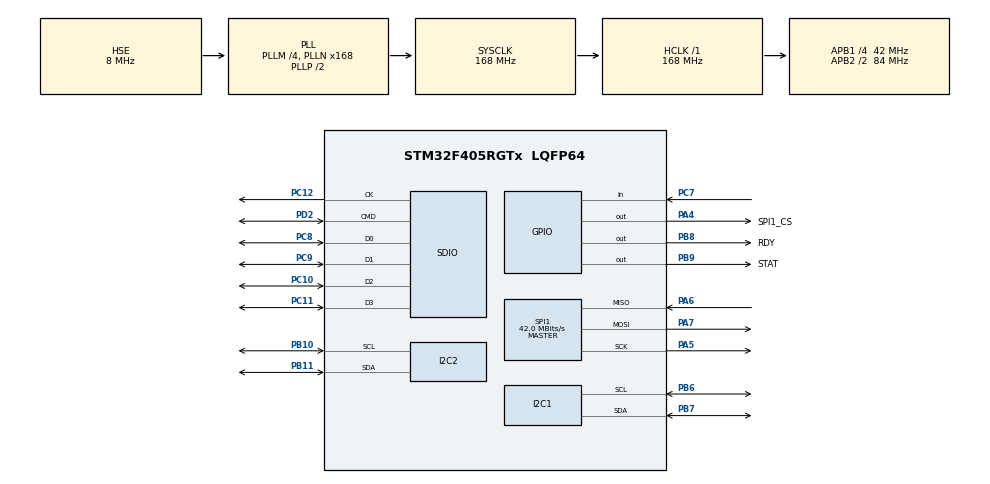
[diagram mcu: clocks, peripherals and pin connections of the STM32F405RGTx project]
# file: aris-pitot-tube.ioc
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Dma.I2C1_RX.6.Direction=DMA_PERIPH_TO_MEMORY
Dma.I2C1_RX.6.FIFOMode=DMA_FIFOMODE_DISABLE
Dma.I2C1_RX.6.Instance=DMA1_Stream0
Dma.I2C1_RX.6.MemDataAlignment=DMA_MDATAALIGN_BYTE
Dma.I2C1_RX.6.MemInc=DMA_MINC_ENABLE
Dma.I2C1_RX.6.Mode=DMA_NORMAL
Dma.I2C1_RX.6.PeriphDataAlignment=DMA_PDATAALIGN_BYTE
Dma.I2C1_RX.6.PeriphInc=DMA_PINC_DISABLE
Dma.I2C1_RX.6.Priority=DMA_PRIORITY_LOW
Dma.I2C1_TX.7.Direction=DMA_MEMORY_TO_PERIPH
Dma.I2C1_TX.7.FIFOMode=DMA_FIFOMODE_DISABLE
Dma.I2C1_TX.7.Instance=DMA1_Stream6
Dma.I2C1_TX.7.MemDataAlignment=DMA_MDATAALIGN_BYTE
Dma.I2C1_TX.7.MemInc=DMA_MINC_ENABLE
Dma.I2C1_TX.7.Mode=DMA_NORMAL
Dma.I2C1_TX.7.PeriphDataAlignment=DMA_PDATAALIGN_BYTE
Dma.I2C1_TX.7.PeriphInc=DMA_PINC_DISABLE
Dma.I2C1_TX.7.Priority=DMA_PRIORITY_LOW
Dma.I2C2_RX.4.Direction=DMA_PERIPH_TO_MEMORY
Dma.I2C2_RX.4.FIFOMode=DMA_FIFOMODE_DISABLE
Dma.I2C2_RX.4.Instance=DMA1_Stream2
Dma.I2C2_RX.4.MemDataAlignment=DMA_MDATAALIGN_BYTE
Dma.I2C2_RX.4.MemInc=DMA_MINC_ENABLE
Dma.I2C2_RX.4.Mode=DMA_NORMAL
Dma.I2C2_RX.4.PeriphDataAlignment=DMA_PDATAALIGN_BYTE
Dma.I2C2_RX.4.PeriphInc=DMA_PINC_DISABLE
Dma.I2C2_RX.4.Priority=DMA_PRIORITY_LOW
Dma.I2C2_TX.5.Direction=DMA_MEMORY_TO_PERIPH
Dma.I2C2_TX.5.FIFOMode=DMA_FIFOMODE_DISABLE
Dma.I2C2_TX.5.Instance=DMA1_Stream7
Dma.I2C2_TX.5.MemDataAlignment=DMA_MDATAALIGN_BYTE
Dma.I2C2_TX.5.MemInc=DMA_MINC_ENABLE
Dma.I2C2_TX.5.Mode=DMA_NORMAL
Dma.I2C2_TX.5.PeriphDataAlignment=DMA_PDATAALIGN_BYTE
Dma.I2C2_TX.5.PeriphInc=DMA_PINC_DISABLE
Dma.I2C2_TX.5.Priority=DMA_PRIORITY_LOW
Dma.Request0=SDIO_RX
Dma.Request1=SDIO_TX
Dma.Request2=SPI1_RX
Dma.Request3=SPI1_TX
Dma.Request4=I2C2_RX
Dma.Request5=I2C2_TX
Dma.Request6=I2C1_RX
Dma.Request7=I2C1_TX
Dma.SDIO_RX.0.Direction=DMA_PERIPH_TO_MEMORY
Dma.SDIO_RX.0.FIFOMode=DMA_FIFOMODE_ENABLE
Dma.SDIO_RX.0.FIFOThreshold=DMA_FIFO_THRESHOLD_FULL
Dma.SDIO_RX.0.Instance=DMA2_Stream3
Dma.SDIO_RX.0.MemBurst=DMA_MBURST_INC4
Dma.SDIO_RX.0.MemDataAlignment=DMA_MDATAALIGN_WORD
Dma.SDIO_RX.0.MemInc=DMA_MINC_ENABLE
Dma.SDIO_RX.0.Mode=DMA_PFCTRL
Dma.SDIO_RX.0.PeriphBurst=DMA_PBURST_INC4
Dma.SDIO_RX.0.PeriphDataAlignment=DMA_PDATAALIGN_WORD
Dma.SDIO_RX.0.PeriphInc=DMA_PINC_DISABLE
Dma.SDIO_RX.0.Priority=DMA_PRIORITY_LOW
Dma.SDIO_TX.1.Direction=DMA_MEMORY_TO_PERIPH
Dma.SDIO_TX.1.FIFOMode=DMA_FIFOMODE_ENABLE
Dma.SDIO_TX.1.FIFOThreshold=DMA_FIFO_THRESHOLD_FULL
Dma.SDIO_TX.1.Instance=DMA2_Stream6
Dma.SDIO_TX.1.MemBurst=DMA_MBURST_INC4
Dma.SDIO_TX.1.MemDataAlignment=DMA_MDATAALIGN_WORD
Dma.SDIO_TX.1.MemInc=DMA_MINC_ENABLE
Dma.SDIO_TX.1.Mode=DMA_PFCTRL
Dma.SDIO_TX.1.PeriphBurst=DMA_PBURST_INC4
Dma.SDIO_TX.1.PeriphDataAlignment=DMA_PDATAALIGN_WORD
Dma.SDIO_TX.1.PeriphInc=DMA_PINC_DISABLE
Dma.SDIO_TX.1.Priority=DMA_PRIORITY_LOW
Dma.SPI1_RX.2.Direction=DMA_PERIPH_TO_MEMORY
Dma.SPI1_RX.2.FIFOMode=DMA_FIFOMODE_DISABLE
Dma.SPI1_RX.2.Instance=DMA2_Stream0
Dma.SPI1_RX.2.MemDataAlignment=DMA_MDATAALIGN_BYTE
Dma.SPI1_RX.2.MemInc=DMA_MINC_ENABLE
Dma.SPI1_RX.2.Mode=DMA_NORMAL
Dma.SPI1_RX.2.PeriphDataAlignment=DMA_PDATAALIGN_BYTE
Dma.SPI1_RX.2.PeriphInc=DMA_PINC_DISABLE
Dma.SPI1_RX.2.Priority=DMA_PRIORITY_LOW
Dma.SPI1_TX.3.Direction=DMA_MEMORY_TO_PERIPH
Dma.SPI1_TX.3.FIFOMode=DMA_FIFOMODE_DISABLE
Dma.SPI1_TX.3.Instance=DMA2_Stream5
Dma.SPI1_TX.3.MemDataAlignment=DMA_MDATAALIGN_BYTE
Dma.SPI1_TX.3.MemInc=DMA_MINC_ENABLE
Dma.SPI1_TX.3.Mode=DMA_NORMAL
Dma.SPI1_TX.3.PeriphDataAlignment=DMA_PDATAALIGN_BYTE
Dma.SPI1_TX.3.PeriphInc=DMA_PINC_DISABLE
Dma.SPI1_TX.3.Priority=DMA_PRIORITY_LOW
FATFS.BSP.number=1
FATFS._FS_REENTRANT=1
FATFS._MAX_SS=4096
FATFS0.BSP.STBoard=false
FATFS0.BSP.api=Unknown
FATFS0.BSP.i2caddr=0
FATFS0.BSP.instance=PC7
FATFS0.BSP.ip=GPIO
FATFS0.BSP.mode=Input
FATFS0.BSP.name=Detect_SDIO
FATFS0.BSP.solution=PC7
FREERTOS.CountingSemaphores01=sleepSem,4,Dynamic,NULL
FREERTOS.Mutexes01=baro1_mutex,Dynamic,NULL;baro2_mutex,Dynamic,NULL;accel_mutex,Dynamic,NULL;temp_mutex,Dynamic,NULL;log_mutex,Dynamic,NULL
FREERTOS.Queues01=SDQueue,100,data_t,0,Dynamic,NULL,NULL
FREERTOS.Tasks01=defaultTask,16,1024,StartDefaultTask,Default,NULL,Dynamic,NULL,NULL;accelTask,40,1024,StartAccelTask,Default,NULL,Dynamic,NULL,NULL;baroTask,33,1024,StartBaroTask,Default,NULL,Dynamic,NULL,NULL;tempTask,16,1024,StartTempTask,Default,NULL,Dynamic,NULL,NULL;SDTask,24,4096,StartSDTask,Default,NULL,Dynamic,NULL,NULL;gatherTask,32,1024,StartGatherTask,Default,NULL,Dynamic,NULL,NULL
FREERTOS.configGENERATE_RUN_TIME_STATS=1
FREERTOS.configRECORD_STACK_HIGH_ADDRESS=1
FREERTOS.configTOTAL_HEAP_SIZE=50000
FREERTOS.configUSE_NEWLIB_REENTRANT=1
FREERTOS.configUSE_STATS_FORMATTING_FUNCTIONS=1
I2C1.I2C_Mode=I2C_Fast
I2C2.I2C_Mode=I2C_Standard
Mcu.Family=STM32F4
Mcu.Name=STM32F405RGTx
Mcu.Package=LQFP64
NVIC.DMA1_Stream0_IRQn=true\:5\:0\:false\:false\:true\:true\:false\:true
NVIC.DMA1_Stream2_IRQn=true\:5\:0\:false\:false\:true\:true\:false\:true
NVIC.DMA1_Stream6_IRQn=true\:5\:0\:false\:false\:true\:true\:false\:true
NVIC.DMA1_Stream7_IRQn=true\:5\:0\:false\:false\:true\:true\:false\:true
NVIC.DMA2_Stream0_IRQn=true\:5\:0\:false\:false\:true\:true\:false\:true
NVIC.DMA2_Stream3_IRQn=true\:5\:0\:false\:false\:true\:true\:false\:true
NVIC.DMA2_Stream5_IRQn=true\:5\:0\:false\:false\:true\:true\:false\:true
NVIC.DMA2_Stream6_IRQn=true\:5\:0\:false\:false\:true\:true\:false\:true
NVIC.I2C1_EV_IRQn=true\:5\:0\:false\:false\:true\:true\:true\:true
NVIC.I2C2_EV_IRQn=true\:5\:0\:false\:false\:true\:true\:true\:true
NVIC.PriorityGroup=NVIC_PRIORITYGROUP_4
NVIC.SDIO_IRQn=true\:5\:0\:false\:false\:true\:true\:true\:true
NVIC.SPI1_IRQn=true\:5\:0\:false\:false\:true\:true\:true\:true
NVIC.TIM1_UP_TIM10_IRQn=true\:15\:0\:false\:false\:true\:false\:false\:true
NVIC.TIM8_UP_TIM13_IRQn=true\:5\:0\:false\:false\:true\:true\:true\:true
NVIC.TimeBase=TIM1_UP_TIM10_IRQn
NVIC.TimeBaseIP=TIM1
PA0-WKUP.Mode=SYS_WakeUp0
PA0-WKUP.Signal=SYS_WKUP
PA13.Mode=Trace_Asynchronous_SW
PA13.Signal=SYS_JTMS-SWDIO
PA14.Mode=Trace_Asynchronous_SW
PA14.Signal=SYS_JTCK-SWCLK
PA4.GPIO_Label=SPI1_CS
PA4.Signal=GPIO_Output
PA5.Mode=Full_Duplex_Master
PA5.Signal=SPI1_SCK
PA6.Mode=Full_Duplex_Master
PA6.Signal=SPI1_MISO
PA7.Mode=Full_Duplex_Master
PA7.Signal=SPI1_MOSI
PB10.GPIO_Pu=GPIO_PULLUP
PB10.Mode=I2C
PB10.Signal=I2C2_SCL
PB11.GPIO_Pu=GPIO_PULLUP
PB11.Mode=I2C
PB11.Signal=I2C2_SDA
PB3.Mode=Trace_Asynchronous_SW
PB3.Signal=SYS_JTDO-SWO
PB6.GPIO_Pu=GPIO_PULLUP
PB6.Mode=I2C
PB6.Signal=I2C1_SCL
PB7.GPIO_Pu=GPIO_PULLUP
PB7.Mode=I2C
PB7.Signal=I2C1_SDA
PB8.GPIO_Label=RDY
PB8.Signal=GPIO_Output
PB9.GPIO_Label=STAT
PB9.Signal=GPIO_Output
PC10.GPIO_PuPd=GPIO_PULLUP
PC10.Mode=SD_4_bits_Wide_bus
PC10.Signal=SDIO_D2
PC11.GPIO_PuPd=GPIO_PULLUP
PC11.Mode=SD_4_bits_Wide_bus
PC11.Signal=SDIO_D3
PC12.GPIO_PuPd=GPIO_NOPULL
PC12.Mode=SD_4_bits_Wide_bus
PC12.Signal=SDIO_CK
PC7.Signal=GPIO_Input
PC8.GPIO_PuPd=GPIO_PULLUP
PC8.Mode=SD_4_bits_Wide_bus
PC8.Signal=SDIO_D0
PC9.GPIO_PuPd=GPIO_PULLUP
PC9.Mode=SD_4_bits_Wide_bus
PC9.Signal=SDIO_D1
PD2.GPIO_PuPd=GPIO_PULLUP
PD2.Mode=SD_4_bits_Wide_bus
PD2.Signal=SDIO_CMD
PH0-OSC_IN.Mode=HSE-External-Oscillator
PH0-OSC_IN.Signal=RCC_OSC_IN
PH1-OSC_OUT.Mode=HSE-External-Oscillator
PH1-OSC_OUT.Signal=RCC_OSC_OUT
ProjectManager.HeapSize=0x8000
ProjectManager.StackSize=0x4000
ProjectManager.TargetToolchain=STM32CubeIDE
RCC.48MHZClocksFreq_Value=48000000
RCC.AHBFreq_Value=168000000
RCC.APB1CLKDivider=RCC_HCLK_DIV4
RCC.APB1Freq_Value=42000000
RCC.APB1TimFreq_Value=84000000
RCC.APB2CLKDivider=RCC_HCLK_DIV2
RCC.APB2Freq_Value=84000000
RCC.APB2TimFreq_Value=168000000
RCC.CortexFreq_Value=168000000
RCC.HCLKFreq_Value=168000000
RCC.HSE_VALUE=8000000
RCC.HSI_VALUE=16000000
RCC.LSE_VALUE=32768
RCC.PLLM=4
RCC.PLLN=168
RCC.PLLQ=7
RCC.PLLSourceVirtual=RCC_PLLSOURCE_HSE
RCC.SYSCLKFreq_VALUE=168000000
RCC.SYSCLKSource=RCC_SYSCLKSOURCE_PLLCLK
RCC.VCOOutputFreq_Value=336000000
SDIO.ClockDiv=12
SPI1.CalculateBaudRate=42.0 MBits/s
SPI1.Direction=SPI_DIRECTION_2LINES
SPI1.Mode=SPI_MODE_MASTER
SPI1.VirtualType=VM_MASTER
TIM13.Period=839
VP_FATFS_VS_SDIO.Mode=SDIO
VP_FREERTOS_VS_CMSIS_V2.Mode=CMSIS_V2
VP_SYS_VS_tim1.Mode=TIM1
VP_TIM13_VS_ClockSourceINT.Mode=Enable_Timer
board=custom

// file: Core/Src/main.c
/* USER CODE BEGIN Header */
/**
 ******************************************************************************
 * @file           : main.c
 * @brief          : Main program body
 * adapted by	    : ARIS / Linus Stoeckli
 ******************************************************************************
 * @attention
 *
 * Copyright (c) 2022 STMicroelectronics.
 * All rights reserved.
 *
 * This software is licensed under terms that can be found in the LICENSE file
 * in the root directory of this software component.
 * If no LICENSE file comes with this software, it is provided AS-IS.
 *
 ******************************************************************************
 */
/* USER CODE END Header */
#include "main.h"
#include "cmsis_os.h"
#include "dma.h"
#include "fatfs.h"
#include "i2c.h"
#include "sdio.h"
#include "spi.h"
#include "tim.h"
#include "gpio.h"

void SystemClock_Config(void);
void MX_FREERTOS_Init(void);

/* USER CODE BEGIN 0 */
volatile unsigned long ulHighFrequencyTimerTicks;

void configureTimerForRunTimeStats(void) {
  ulHighFrequencyTimerTicks = 0;
  HAL_TIM_Base_Start_IT(&htim13);
}

unsigned long getRunTimeCounterValue(void) {
  return ulHighFrequencyTimerTicks;
}
/* USER CODE END 0 */

int main(void)
{

  /* MCU Configuration--------------------------------------------------------*/

  /* Reset of all peripherals, Initializes the Flash interface and the Systick. */
  HAL_Init();

  /* Configure the system clock */
  SystemClock_Config();

  /* Initialize all configured peripherals */
  MX_GPIO_Init();
  MX_I2C1_Init();
  MX_I2C2_Init();
  MX_SDIO_SD_Init();
  MX_SPI1_Init();
  MX_DMA_Init();
  MX_FATFS_Init();
  MX_TIM13_Init();
  /* USER CODE BEGIN 2 */

	HAL_Delay(1000);

	HAL_PWR_DisableWakeUpPin(PWR_WAKEUP_PIN1);  // disable PA0

  /* USER CODE END 2 */

  /* Init scheduler */
  osKernelInitialize();  /* Call init function for freertos objects (in freertos.c) */
  MX_FREERTOS_Init();
  /* Start scheduler */
  osKernelStart();

  /* We should never get here as control is now taken by the scheduler */
  /* Infinite loop */
	while (1) {

	}
}

void SystemClock_Config(void)
{
  RCC_OscInitTypeDef RCC_OscInitStruct = {0};
  RCC_ClkInitTypeDef RCC_ClkInitStruct = {0};

  /** Configure the main internal regulator output voltage
  */
  __HAL_RCC_PWR_CLK_ENABLE();
  __HAL_PWR_VOLTAGESCALING_CONFIG(PWR_REGULATOR_VOLTAGE_SCALE1);
  /** Initializes the RCC Oscillators according to the specified parameters
  * in the RCC_OscInitTypeDef structure.
  */
  RCC_OscInitStruct.OscillatorType = RCC_OSCILLATORTYPE_HSE;
  RCC_OscInitStruct.HSEState = RCC_HSE_ON;
  RCC_OscInitStruct.PLL.PLLState = RCC_PLL_ON;
  RCC_OscInitStruct.PLL.PLLSource = RCC_PLLSOURCE_HSE;
  RCC_OscInitStruct.PLL.PLLM = 4;
  RCC_OscInitStruct.PLL.PLLN = 168;
  RCC_OscInitStruct.PLL.PLLP = RCC_PLLP_DIV2;
  RCC_OscInitStruct.PLL.PLLQ = 7;
  if (HAL_RCC_OscConfig(&RCC_OscInitStruct) != HAL_OK)
  {
    Error_Handler();
  }
  /** Initializes the CPU, AHB and APB buses clocks
  */
  RCC_ClkInitStruct.ClockType = RCC_CLOCKTYPE_HCLK|RCC_CLOCKTYPE_SYSCLK
                              |RCC_CLOCKTYPE_PCLK1|RCC_CLOCKTYPE_PCLK2;
  RCC_ClkInitStruct.SYSCLKSource = RCC_SYSCLKSOURCE_PLLCLK;
  RCC_ClkInitStruct.AHBCLKDivider = RCC_SYSCLK_DIV1;
  RCC_ClkInitStruct.APB1CLKDivider = RCC_HCLK_DIV4;
  RCC_ClkInitStruct.APB2CLKDivider = RCC_HCLK_DIV2;

  if (HAL_RCC_ClockConfig(&RCC_ClkInitStruct, FLASH_LATENCY_5) != HAL_OK)
  {
    Error_Handler();
  }
}

void HAL_TIM_PeriodElapsedCallback(TIM_HandleTypeDef *htim)
{
  if (htim->Instance == TIM1) {
    HAL_IncTick();
  }
}

void Error_Handler(void)
{
	__disable_irq();
	while (1) {
	}
}

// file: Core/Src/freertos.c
/* USER CODE BEGIN Header */
/**
 ******************************************************************************
 * File Name          : freertos.c
 * Description        : Code for freertos applications
 * adapted by		   : ARIS / Linus Stoeckli
 ******************************************************************************
 * @attention
 *
 * Copyright (c) 2022 STMicroelectronics.
 * All rights reserved.
 *
 * This software is licensed under terms that can be found in the LICENSE file
 * in the root directory of this software component.
 * If no LICENSE file comes with this software, it is provided AS-IS.
 *
 ******************************************************************************
 */
/* USER CODE END Header */

#include "FreeRTOS.h"
#include "task.h"
#include "main.h"
#include "cmsis_os.h"

/* USER CODE BEGIN Includes */
#include "devices/LED.h"
#include "devices/ICM20601.h"
#include "devices/MS5803.h"
#include "devices/MCP9600.h"

#include "SD.h"
#include "utils.h"
#include <stdio.h>
/* USER CODE END Includes */

/* USER CODE BEGIN PM */
ICM20601 IMU = IMU_INIT();

MS5803 BARO1 = BARO1_INIT();
MS5803 BARO2 = BARO2_INIT();

MCP9600 TEMP = MCP_INIT();
LED STAT = STAT_INIT();
LED RDY = RDY_INIT();

data_t DATA = DATA_CONTAINER_INIT();
cal_t CAL = CAL_CONATINER_INIT();
accel_data_t accel_data;
baro_data_t baro1_data;
baro_data_t baro2_data;
temp_data_t temp_data;

/* USER CODE END PM */

/* USER CODE BEGIN Variables */

uint8_t good_night_mode = 0;
uint8_t wake_up_mode = 0;

float a[8];
float p1 = 0;
float p2 = 0;
float t1 = 0;
float t2 = 0;
float T[4];

char buffer[BUFLEN]; // to store data
uint16_t num_dat_file = 0;
uint16_t num_dir = 0;
uint8_t SD_state = 0;
uint16_t counter = 0;

char FILE_NAME[24];
char CAL_NAME[24];
char LOG_NAME[24];

char log_buffer[BUFLEN];

volatile uint32_t tick = 0;
/* USER CODE END Variables */
/* Definitions for defaultTask */
osThreadId_t defaultTaskHandle;
const osThreadAttr_t defaultTask_attributes = {
  .name = "defaultTask",
  .stack_size = 1024 * 4,
  .priority = (osPriority_t) osPriorityBelowNormal,
};
/* Definitions for accelTask */
osThreadId_t accelTaskHandle;
const osThreadAttr_t accelTask_attributes = {
  .name = "accelTask",
  .stack_size = 1024 * 4,
  .priority = (osPriority_t) osPriorityHigh,
};
/* Definitions for baroTask */
osThreadId_t baroTaskHandle;
const osThreadAttr_t baroTask_attributes = {
  .name = "baroTask",
  .stack_size = 1024 * 4,
  .priority = (osPriority_t) osPriorityAboveNormal1,
};
/* Definitions for tempTask */
osThreadId_t tempTaskHandle;
const osThreadAttr_t tempTask_attributes = {
  .name = "tempTask",
  .stack_size = 1024 * 4,
  .priority = (osPriority_t) osPriorityBelowNormal,
};
/* Definitions for SDTask */
osThreadId_t SDTaskHandle;
const osThreadAttr_t SDTask_attributes = {
  .name = "SDTask",
  .stack_size = 4096 * 4,
  .priority = (osPriority_t) osPriorityNormal,
};
/* Definitions for gatherTask */
osThreadId_t gatherTaskHandle;
const osThreadAttr_t gatherTask_attributes = {
  .name = "gatherTask",
  .stack_size = 1024 * 4,
  .priority = (osPriority_t) osPriorityAboveNormal,
};
/* Definitions for SDQueue */
osMessageQueueId_t SDQueueHandle;
const osMessageQueueAttr_t SDQueue_attributes = {
  .name = "SDQueue"
};
/* Definitions for baro1_mutex */
osMutexId_t baro1_mutexHandle;
const osMutexAttr_t baro1_mutex_attributes = {
  .name = "baro1_mutex"
};
/* Definitions for baro2_mutex */
osMutexId_t baro2_mutexHandle;
const osMutexAttr_t baro2_mutex_attributes = {
  .name = "baro2_mutex"
};
/* Definitions for accel_mutex */
osMutexId_t accel_mutexHandle;
const osMutexAttr_t accel_mutex_attributes = {
  .name = "accel_mutex"
};
/* Definitions for temp_mutex */
osMutexId_t temp_mutexHandle;
const osMutexAttr_t temp_mutex_attributes = {
  .name = "temp_mutex"
};
/* Definitions for log_mutex */
osMutexId_t log_mutexHandle;
const osMutexAttr_t log_mutex_attributes = {
  .name = "log_mutex"
};
/* Definitions for sleepSem */
osSemaphoreId_t sleepSemHandle;
const osSemaphoreAttr_t sleepSem_attributes = {
  .name = "sleepSem"
};

void StartDefaultTask(void *argument);
void StartAccelTask(void *argument);
void StartBaroTask(void *argument);
void StartTempTask(void *argument);
void StartSDTask(void *argument);
void StartGatherTask(void *argument);

void MX_FREERTOS_Init(void); /* (MISRA C 2004 rule 8.1) */

/* Hook prototypes */
void configureTimerForRunTimeStats(void);
unsigned long getRunTimeCounterValue(void);

/* USER CODE BEGIN 1 */
/* Functions needed when configGENERATE_RUN_TIME_STATS is on */
__weak void configureTimerForRunTimeStats(void)
{

}

__weak unsigned long getRunTimeCounterValue(void)
{
return 0;
}
/* USER CODE END 1 */

void MX_FREERTOS_Init(void) {
  /* USER CODE BEGIN Init */

	turn_on(&RDY);
	turn_on(&STAT);

	uint8_t baro1_rdy = ms5803_init(&BARO1);
	while (baro1_rdy != 1) {
		baro1_rdy = ms5803_init(&BARO1);
		osDelay(100);
	}
	CAL.baro1_cal_1 = BARO1.cal[0];
	CAL.baro1_cal_2 = BARO1.cal[1];
	CAL.baro1_cal_3 = BARO1.cal[2];
	CAL.baro1_cal_4 = BARO1.cal[3];
	CAL.baro1_cal_5 = BARO1.cal[4];
	CAL.baro1_cal_6 = BARO1.cal[5];

	uint8_t baro2_rdy = ms5803_init(&BARO2);
	while (baro2_rdy != 1) {
		baro2_rdy = ms5803_init(&BARO2);
		osDelay(100);
	}
	CAL.baro2_cal_1 = BARO2.cal[0];
	CAL.baro2_cal_2 = BARO2.cal[1];
	CAL.baro2_cal_3 = BARO2.cal[2];
	CAL.baro2_cal_4 = BARO2.cal[3];
	CAL.baro2_cal_5 = BARO2.cal[4];
	CAL.baro2_cal_6 = BARO2.cal[5];

	uint8_t imu_rdy = icm20601_init(&IMU);
	while (imu_rdy != 1) {
		imu_rdy = icm20601_init(&IMU);
		osDelay(100);
	}
	CAL.accel_sens = (uint16_t) _get_accel_sensitivity(IMU.accel_g);
	CAL.gyro_sens = (uint16_t) (_get_gyro_sensitivity(IMU.gyro_dps) * 10);

	uint8_t temp_rdy = mcp9600_init(&TEMP);
	while (temp_rdy != 1) {
		temp_rdy = mcp9600_init(&TEMP);
		osDelay(100);
	}

	turn_off(&RDY);
	turn_off(&STAT);

  /* USER CODE END Init */
  /* Create the mutex(es) */
  /* creation of baro1_mutex */
  baro1_mutexHandle = osMutexNew(&baro1_mutex_attributes);

  /* creation of baro2_mutex */
  baro2_mutexHandle = osMutexNew(&baro2_mutex_attributes);

  /* creation of accel_mutex */
  accel_mutexHandle = osMutexNew(&accel_mutex_attributes);

  /* creation of temp_mutex */
  temp_mutexHandle = osMutexNew(&temp_mutex_attributes);

  /* creation of log_mutex */
  log_mutexHandle = osMutexNew(&log_mutex_attributes);

  /* Create the semaphores(s) */
  /* creation of sleepSem */
  sleepSemHandle = osSemaphoreNew(4, 4, &sleepSem_attributes);

  /* Create the queue(s) */
  /* creation of SDQueue */
  SDQueueHandle = osMessageQueueNew (100, sizeof(data_t), &SDQueue_attributes);

  /* Create the thread(s) */
  /* creation of defaultTask */
  defaultTaskHandle = osThreadNew(StartDefaultTask, NULL, &defaultTask_attributes);

  /* creation of accelTask */
  accelTaskHandle = osThreadNew(StartAccelTask, NULL, &accelTask_attributes);

  /* creation of baroTask */
  baroTaskHandle = osThreadNew(StartBaroTask, NULL, &baroTask_attributes);

  /* creation of tempTask */
  tempTaskHandle = osThreadNew(StartTempTask, NULL, &tempTask_attributes);

  /* creation of SDTask */
  SDTaskHandle = osThreadNew(StartSDTask, NULL, &SDTask_attributes);

  /* creation of gatherTask */
  gatherTaskHandle = osThreadNew(StartGatherTask, NULL, &gatherTask_attributes);

}

void StartDefaultTask(void *argument)
{
  /* USER CODE BEGIN StartDefaultTask */
	/* Infinite loop */
	for (;;) {
		// if average of last measurement buffer is < 1.5g
		// and gyros not moving then go into good_night_mode
		if (good_night_mode == 0) {
			if (osMutexAcquire(accel_mutexHandle, ACCEL_MUTEX_TIMEOUT)){
				if (device_is_idle(&CAL, &DATA, IDLE_DETECT_LEN) == 1) {
					if (osMutexAcquire(log_mutexHandle, LOG_MUTEX_TIMEOUT) == osOK) {
						sprintf(log_buffer, "%lu, going to sleep \n", HAL_GetTick());
						log_msg(LOG_NAME,log_buffer);
						osMutexRelease(log_mutexHandle);
					}
					good_night_mode = 1;
				}
				DATA.flight_phase = launch_detect(&CAL, &DATA, LAUNCH_DETECT_LEN);
				osMutexRelease(accel_mutexHandle);
			}
		} else {
			osSemaphoreAcquire(sleepSemHandle, portMAX_DELAY);
			osThreadSuspend(defaultTaskHandle);
		}

		osDelay(CHECK_IDLE_INTERVAL);
	}
  /* USER CODE END StartDefaultTask */
}

void StartAccelTask(void *argument)
{
  /* USER CODE BEGIN StartAccelTask */
	float accel_temperature = 0;
	int16_t accel_raw[3] = { 0 };
	int16_t gyro_raw[3] = { 0 };
	uint8_t accel_stat = HAL_TIMEOUT;
	uint8_t sem_count = 0;
	uint32_t tick_count = 0;
	/* Infinite loop */
	for (;;) {

		tick_count = osKernelGetTickCount();
		if (good_night_mode == 1) {
			icm20601_standby(&IMU);
			sem_count = osSemaphoreGetCount(sleepSemHandle);
			while (sem_count != 0) {
				turn_on(&RDY);
				turn_on(&STAT);
				osDelay(50);
				turn_off(&RDY);
				turn_off(&STAT);
				osDelay(50);
				sem_count = osSemaphoreGetCount(sleepSemHandle);
			}
			osDelay(100);
			turn_off(&RDY);
			turn_off(&STAT);
			HAL_PWR_EnableWakeUpPin(PWR_WAKEUP_PIN1);

			// Clear the WU FLAG
			__HAL_PWR_CLEAR_FLAG(PWR_FLAG_WU);
			HAL_PWR_EnterSTANDBYMode();

			osThreadSuspend(accelTaskHandle);

			// now in stand-by
			// resets up on wake-up

		} else {
			if (DEBUG_PRINT == 1)
				icm20601_read_data(&IMU, a);
			accel_stat = icm20601_read_accel_raw(&IMU, accel_raw);
			accel_stat += icm20601_read_gyro_raw(&IMU, gyro_raw);
			accel_stat += icm20601_read_temp(&IMU, &accel_temperature);
			if (accel_stat == HAL_OK) {
				/* If the Mutex is acquired we write the data into the right variable */
				if (osMutexAcquire(accel_mutexHandle, ACCEL_MUTEX_TIMEOUT)
						== osOK) {
					accel_data.accel_t = (int16_t) (accel_temperature * 100);
					accel_data.accel_x = accel_raw[0];
					accel_data.accel_y = accel_raw[1];
					accel_data.accel_z = accel_raw[2];
					accel_data.gyro_x = gyro_raw[0];
					accel_data.gyro_y = gyro_raw[1];
					accel_data.gyro_z = gyro_raw[2];
					osMutexRelease(accel_mutexHandle);
				}
			} else {
				if (osMutexAcquire(log_mutexHandle, LOG_MUTEX_TIMEOUT) == osOK) {
					sprintf(log_buffer, "%lu, error on imu: %d, re-initing\n", HAL_GetTick(), accel_stat);
					log_msg(LOG_NAME,log_buffer);
					osMutexRelease(log_mutexHandle);

				}
				uint8_t imu_rdy = icm20601_init(&IMU);
				while (imu_rdy != 1) {
					imu_rdy = icm20601_init(&IMU);
					osDelay(100);
				}
				if (osMutexAcquire(log_mutexHandle, LOG_MUTEX_TIMEOUT) == osOK) {
					sprintf(log_buffer, "%lu, imu init success\n", HAL_GetTick());
					log_msg(LOG_NAME,log_buffer);
					osMutexRelease(log_mutexHandle);
				}
			}

		}
		osDelayUntil(tick_count + 1);
		// osDelay(IMU_INTERVAL);
	}
  /* USER CODE END StartAccelTask */
}

void StartBaroTask(void *argument)
{
  /* USER CODE BEGIN StartBaroTask */
	uint8_t baro1_stat = HAL_TIMEOUT;
	uint8_t baro2_stat = HAL_TIMEOUT;

	// wait time is the same for both baros, so just take the first
	uint32_t wait_time = ms5803_get_conversion_ticks(&BARO1);
	/* Infinite loop */
	for (;;) {

		if (good_night_mode == 0) {

			osDelay(wait_time);
			ms5803_prep_pressure(&BARO1);
			ms5803_prep_pressure(&BARO2);

			osDelay(wait_time);
			baro1_stat = ms5803_read_pressure(&BARO1);
			baro2_stat = ms5803_read_pressure(&BARO2);

			if (baro1_stat == HAL_OK) {
				if (osMutexAcquire(baro1_mutexHandle, BARO_MUTEX_TIMEOUT)
						== osOK) {
					baro1_data.baro_D1 = BARO1.D1;
					baro1_data.baro_D2 = BARO1.D2;
					osMutexRelease(baro1_mutexHandle);
				}
			} else {
				if (osMutexAcquire(log_mutexHandle, LOG_MUTEX_TIMEOUT) == osOK) {
					sprintf(log_buffer, "%lu, error on baro1: %d, re-initing\n", HAL_GetTick(), baro1_stat);
					log_msg(LOG_NAME,log_buffer);
					osMutexRelease(log_mutexHandle);

				}

				uint8_t baro1_rdy = ms5803_init(&BARO1);
				while (baro1_rdy != 1) {
					baro1_rdy = ms5803_init(&BARO1);
					osDelay(100);
				}
				if (osMutexAcquire(log_mutexHandle, LOG_MUTEX_TIMEOUT) == osOK) {
					sprintf(log_buffer, "%lu, baro1 init success\n", HAL_GetTick());
					log_msg(LOG_NAME,log_buffer);
					osMutexRelease(log_mutexHandle);
				}
			}

			if (baro2_stat == HAL_OK) {
				if (osMutexAcquire(baro2_mutexHandle, BARO_MUTEX_TIMEOUT)
						== osOK) {
					baro2_data.baro_D1 = BARO2.D1;
					baro2_data.baro_D2 = BARO2.D2;
					osMutexRelease(baro2_mutexHandle);
				}
			} else {
				if (osMutexAcquire(log_mutexHandle, LOG_MUTEX_TIMEOUT) == osOK) {
					sprintf(log_buffer, "%lu, error on baro2: %d, re-initing\n", HAL_GetTick(), baro2_stat);
					log_msg(LOG_NAME,log_buffer);
					osMutexRelease(log_mutexHandle);
				}

				uint8_t baro2_rdy = ms5803_init(&BARO2);
				while (baro2_rdy != 1) {
					baro2_rdy = ms5803_init(&BARO2);
					osDelay(100);
				}
				if (osMutexAcquire(log_mutexHandle, LOG_MUTEX_TIMEOUT) == osOK) {
					sprintf(log_buffer, "%lu, baro2 init success\n", HAL_GetTick());
					log_msg(LOG_NAME,log_buffer);
					osMutexRelease(log_mutexHandle);
				}
			}

			if (DEBUG_PRINT == 1)
				ms5803_convert(&BARO1, &p1, &t1);
			if (DEBUG_PRINT == 1)
				ms5803_convert(&BARO2, &p2, &t2);
		} else {
			osSemaphoreAcquire(sleepSemHandle, portMAX_DELAY);
			osThreadSuspend(baroTaskHandle);
		}

		osDelay(BARO_INTERVAL);
		toggle(&STAT);
	}
  /* USER CODE END StartBaroTask */
}

void StartTempTask(void *argument)
{
  /* USER CODE BEGIN StartTempTask */
	uint8_t temp_stat = HAL_TIMEOUT;

	/* Infinite loop */
	for (;;) {
		if (good_night_mode == 0) {
			temp_stat = mcp9600_read(&TEMP, T);
			if (temp_stat == HAL_OK) {
				if (osMutexAcquire(temp_mutexHandle, TEMP_MUTEX_TIMEOUT)
						== osOK) {
					temp_data.temp_tc = (int16_t) (T[2] * 100);
					temp_data.temp_th = (int16_t) (T[0] * 100);
					osMutexRelease(temp_mutexHandle);
				}
			} else {
				if (osMutexAcquire(log_mutexHandle, LOG_MUTEX_TIMEOUT) == osOK) {
					sprintf(log_buffer, "%lu, error on temp: %d, re-initing\n", HAL_GetTick(), temp_stat);
					log_msg(LOG_NAME,log_buffer);
					osMutexRelease(log_mutexHandle);

				}

				uint8_t temp_rdy = mcp9600_init(&TEMP);
				while (temp_rdy != 1) {
					temp_rdy = mcp9600_init(&TEMP);
					osDelay(100);
				}
				if (osMutexAcquire(log_mutexHandle, LOG_MUTEX_TIMEOUT) == osOK) {
					sprintf(log_buffer, "%lu, baro1 init success\n", HAL_GetTick());
					log_msg(LOG_NAME,log_buffer);
					osMutexRelease(log_mutexHandle);
				}
			}
		} else {
			osSemaphoreAcquire(sleepSemHandle, portMAX_DELAY);
			osThreadSuspend(tempTaskHandle);
		}

		osDelay(TEMP_INTERVAL);
	}
  /* USER CODE END StartTempTask */
}

void StartSDTask(void *argument)
{
  /* USER CODE BEGIN StartSDTask */
	uint16_t buffer_size = 0;
	uint16_t line_counter = 0;
	FRESULT res = FR_OK;
	uint32_t buffer_len = 0;
	data_t DATA_RECEIVE = DATA_CONTAINER_INIT();

	if (osMutexAcquire(log_mutexHandle, LOG_MUTEX_TIMEOUT) == osOK) {

		printf("mounting SD card \n");
		mount_sd_card();

		setup_dir(&num_dir);

		num_dat_file = 0;

		sprintf(FILE_NAME, "DAT%04u/FD%04u.BIN", (unsigned int) num_dir,
				(unsigned int) num_dat_file);
		if (DEBUG_PRINT == 1)
			printf("saving %s ... \n", FILE_NAME);

		sprintf(CAL_NAME, "DAT%04u/CAL.BIN", (unsigned int) num_dir);
		if (DEBUG_PRINT == 1)
			printf("saving %s ... \n", CAL_NAME);

		sprintf(LOG_NAME, "DAT%04u/LOG.CSV", (unsigned int) num_dir);
		if (DEBUG_PRINT == 1)
			printf("saving %s ... \n", LOG_NAME);

		init_log(LOG_NAME);

		if (write_cal_file(CAL_NAME, &CAL, &buffer_size) != FR_OK) {
			while (1) {
				toggle(&RDY);
				osDelay(250);
				toggle(&STAT);
				osDelay(250);
			}
		}
		osMutexRelease(log_mutexHandle);
	}
	res = open_file(FILE_NAME);

	/* Infinite loop */
	for (;;) {

		if (good_night_mode == 0) {
			buffer_len = osMessageQueueGetCount(SDQueueHandle);
			printf("queue length: %u \n", (unsigned int)osMessageQueueGetCount(SDQueueHandle));
			printf("SD_BUFFER_LEN: %d \n", (int)SD_BUFFER_LEN);

			if (buffer_len  < (int)SD_BUFFER_LEN - 1){
				osDelay(1);
				printf("queue too short \n");
				continue;
			} else {
				for (int j = 0; j < (int)SD_BUFFER_LEN; j++){
					printf("saving queue entry %d \n", j);

					osMessageQueueGet(SDQueueHandle, &DATA_RECEIVE, 0U, 0U);

					res = write_to_file(&DATA_RECEIVE, &buffer_size);
					if (buffer_size > WRITE_BUFFER_SIZE) {
						// res = flush_buffer();
						buffer_size = 0;
					}

					line_counter++;
					if (line_counter > SECONDS_PER_FILE * 1000 / 1) {
						turn_on(&RDY);
						buffer_size = 0;
						line_counter = 0;
						num_dat_file++;
						res = flush_buffer();
						close_file();
						sprintf(FILE_NAME, "DAT%04u/FD%04u.BIN", (unsigned int) num_dir,
								(unsigned int) num_dat_file);
						res = open_file(FILE_NAME);
						turn_off(&RDY);
					}
					if (DEBUG_PRINT == 1)
						printf("tick: %ld \n", tick);
					if (DEBUG_PRINT == 1)
						printf("flight phase: %u \n", DATA_RECEIVE.flight_phase);
					if (DEBUG_PRINT == 1)
						printf("T_a: %4.2f C \n", a[0]);
					if (DEBUG_PRINT == 1)
						printf("ax: %4.2f m/s2 \n", a[1]);
					if (DEBUG_PRINT == 1)
						printf("ay: %4.2f m/s2 \n", a[2]);
					if (DEBUG_PRINT == 1)
						printf("az: %4.2f m/s2 \n", a[3]);
					if (DEBUG_PRINT == 1)
						printf("gx: %4.2f dps \n", a[4]);
					if (DEBUG_PRINT == 1)
						printf("gy: %4.2f dps \n", a[5]);
					if (DEBUG_PRINT == 1)
						printf("gz: %4.2f dps \n", a[6]);
					if (DEBUG_PRINT == 1)
						printf("p1: %4.2f mBar \n", p1);
					if (DEBUG_PRINT == 1)
						printf("p2: %4.2f mBar \n", p2);
					if (DEBUG_PRINT == 1)
						printf("p_t1: %4.2f C \n", t1);
					if (DEBUG_PRINT == 1)
						printf("p_t2: %4.2f C \n", t2);
					if (DEBUG_PRINT == 1)
						printf("T_H: %4.2f C \n", T[0]);
					if (DEBUG_PRINT == 1)
						printf("T_D: %4.2f C \n", T[1]);
					if (DEBUG_PRINT == 1)
						printf("T_C: %4.2f C \n", T[2]);
				}
			}
		} else {
			close_file();
			unmount_sd_card();
			osSemaphoreAcquire(sleepSemHandle, portMAX_DELAY);
			osThreadSuspend(SDTaskHandle);
		}
		if (res != FR_OK){
			remount_sd_card();
			if (osMutexAcquire(log_mutexHandle, LOG_MUTEX_TIMEOUT) == osOK) {
				sprintf(log_buffer, "%lu, error on SD card: %d, re-mounted...\n", HAL_GetTick(), res);
				log_msg(LOG_NAME,log_buffer);
				osMutexRelease(log_mutexHandle);
			}
		}
		osDelay(SAVE_INTERVAL);
	}
  /* USER CODE END StartSDTask */
}

void StartGatherTask(void *argument)
{
  /* USER CODE BEGIN StartGatherTask */
  /* Infinite loop */
  uint32_t tick_count = 0;
  osStatus_t ret = osOK;
  for(;;)
  {
	tick_count = osKernelGetTickCount();
	DATA.tick = tick_count;

	if (osMutexAcquire(accel_mutexHandle, ACCEL_MUTEX_TIMEOUT)
			== osOK) {
		DATA.accel_t = accel_data.accel_t;
		DATA.accel_x = accel_data.accel_x;
		DATA.accel_y = accel_data.accel_y;
		DATA.accel_z = accel_data.accel_z;
		DATA.gyro_x = accel_data.gyro_x;
		DATA.gyro_y = accel_data.gyro_y;
		DATA.gyro_z = accel_data.gyro_z;
		osMutexRelease(accel_mutexHandle);
	}

	if (osMutexAcquire(baro1_mutexHandle, BARO_MUTEX_TIMEOUT) == osOK) {
		DATA.baro1_D1 = baro1_data.baro_D1;
		DATA.baro1_D2 = baro1_data.baro_D2;
		osMutexRelease(baro1_mutexHandle);
	}

	if (osMutexAcquire(baro2_mutexHandle, BARO_MUTEX_TIMEOUT) == osOK) {
		DATA.baro2_D1 = baro2_data.baro_D1;
		DATA.baro2_D2 = baro2_data.baro_D2;
		osMutexRelease(baro2_mutexHandle);
	}

	if (osMutexAcquire(temp_mutexHandle, TEMP_MUTEX_TIMEOUT) == osOK) {
		DATA.temp_tc = temp_data.temp_tc;
		DATA.temp_th = temp_data.temp_th;
		osMutexRelease(temp_mutexHandle);
	}

	ret = osMessageQueuePut(SDQueueHandle, &DATA, 0U, 0U);
	if (DEBUG_PRINT == 1)
		printf("queue size: %u, status %d\n", (unsigned int)osMessageQueueGetCount(SDQueueHandle), ret);

    osDelayUntil(tick_count + 1);
  }
  /* USER CODE END StartGatherTask */
}
